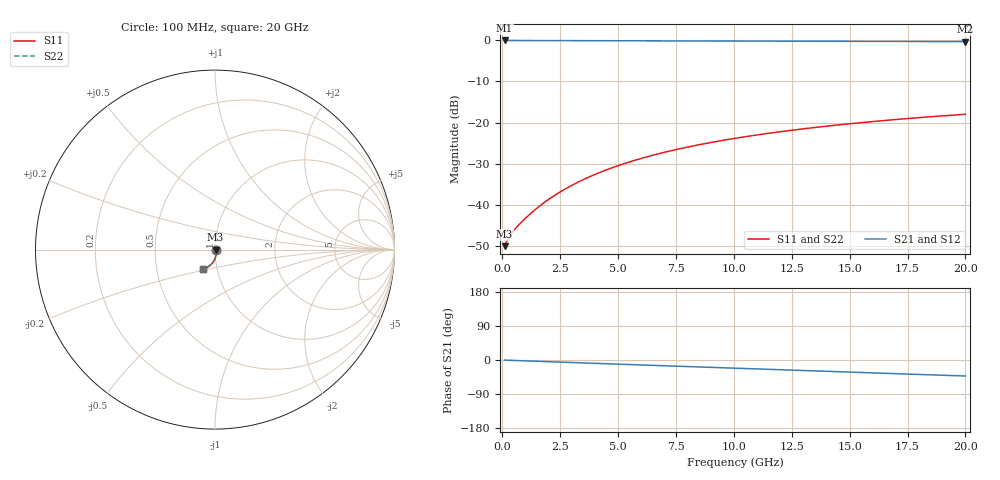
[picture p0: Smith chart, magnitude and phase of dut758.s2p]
! Touchstone file exported from HFSS 2026.1.0
!  File:  C:/ffzhzh/LocalFiles/Ansys_Project_Files/temp_train_TMRDL_758_1783155396_43440.aedt
!  Generated:  04:57:44 PM Jul  4, 2026
!  Design:  TMRDL
!  Project:  temp_train_TMRDL_758_1783155396_43440
! Variables:
!  h_bsmrdl = 2um
!  h_ox = 20um
!  h_rdl = 5um
!  h_sub = 80um
!  h_tmrdl = 5.03um
!  h_tsv = 80um
!  h_via = 3um
!  l_bsmrdl = 300um
!  l_sub = 1153.5um
!  l_tmrdl = 753.5um
!  m_sub = 200um
!  pitch = 21.87um
!  r_tsv = 6um
!  s_tmrdl = 10um
!  w_bsmrdl = 18um
!  w_sub = 500um
!  w_tmrdl = 18.75um
!  x_tsv_center1 = 762.875um
!  x_tsv_center2 = 1080.875um
!  x_tsv_center3 = 1853.125um
!  x_tsv_center4 = 2171.125um
!  x_tsv_center5 = 2943.375um
!  x_tsv_center6 = 3261.375um
# GHz S MA R 50.000000
! Terminal data exported
! Port[1] = TM_RDL1_1_T1
! Port[2] = TM_RDL1_1_T2
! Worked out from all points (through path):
!   200 points, 100 MHz to 20 GHz, reference 50 ohm
!   highest |S21| = -0.03 dB at 100 MHz (marker M1); lowest = -0.3 dB at 20 GHz (marker M2)
!   group delay of S21, straight-line fit = 5.84 ps
!   lowest |S11| = -50.1 dB at 100 MHz (marker M3), VSWR 1.01, Z = 50.3 + j0.0208 ohm
!   |S11| at or under -10 dB: start of sweep to end of sweep
!   |S22| runs from -50.1 to -18.0 dB; largest |S21 - S12| = 2.7e-15
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0.1  0.003125 3.8  0.9969 -0.3  0.9969 -0.3  0.003125 3.8
! Gamma 0 0 0 0
! Port Impedance 50 0 50 0
0.2  0.003603 1.8  0.9964 -0.5  0.9964 -0.5  0.003603 1.8
0.3  0.004077 -3.8  0.9959 -0.7  0.9959 -0.7  0.004077 -3.8
0.4  0.004498 -10.3  0.9956 -1.0  0.9956 -1.0  0.004496 -10.3
0.5  0.004883 -16.5  0.9953 -1.2  0.9953 -1.2  0.00488 -16.5
0.9  0.006412 -35.7  0.9946 -2.1  0.9946 -2.1  0.006405 -35.7
1.4  0.008601 -49.9  0.9941 -3.2  0.9941 -3.2  0.008587 -50.0
1.9  0.01107 -58.3  0.9935 -4.3  0.9935 -4.3  0.01105 -58.4
2.4  0.01375 -63.8  0.9927 -5.4  0.9927 -5.4  0.01372 -64.0
2.9  0.0166 -67.9  0.992 -6.5  0.992 -6.5  0.01656 -68.1
3.5  0.0202 -71.7  0.991 -7.8  0.991 -7.8  0.02015 -71.9
4.2  0.0246 -75.3  0.9897 -9.3  0.9897 -9.3  0.02454 -75.5
5  0.02983 -78.8  0.9883 -11.0  0.9883 -11.0  0.02975 -79.1
5.9  0.03586 -82.3  0.9868 -12.9  0.9868 -12.9  0.03576 -82.7
6.8  0.04199 -85.6  0.9853 -14.8  0.9853 -14.8  0.04187 -86.0
8.3  0.05228 -90.5  0.983 -18.0  0.983 -18.0  0.05212 -91.0
10.1  0.06454 -95.9  0.9803 -21.7  0.9803 -21.7  0.06433 -96.5
11.7  0.07526 -100.4  0.9779 -25.1  0.9779 -25.1  0.07501 -101.1
13.4  0.08638 -104.8  0.9754 -28.6  0.9754 -28.6  0.08608 -105.7
15  0.09655 -108.9  0.973 -31.9  0.973 -31.9  0.0962 -109.8
16.7  0.107 -113.0  0.9704 -35.4  0.9704 -35.4  0.1066 -114.0
20  0.126 -120.6  0.9652 -42.2  0.9652 -42.2  0.1255 -121.8
